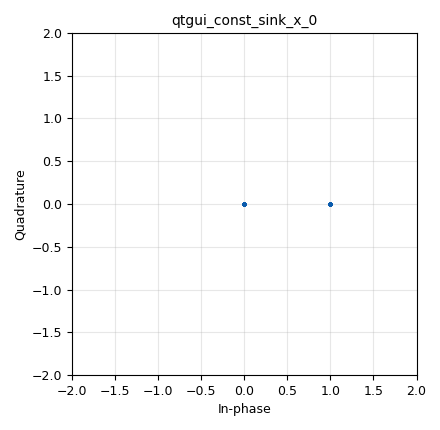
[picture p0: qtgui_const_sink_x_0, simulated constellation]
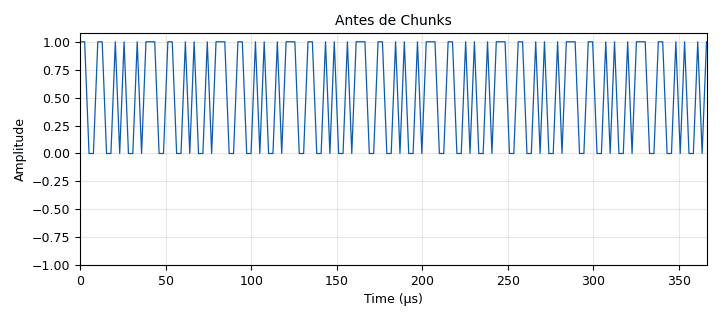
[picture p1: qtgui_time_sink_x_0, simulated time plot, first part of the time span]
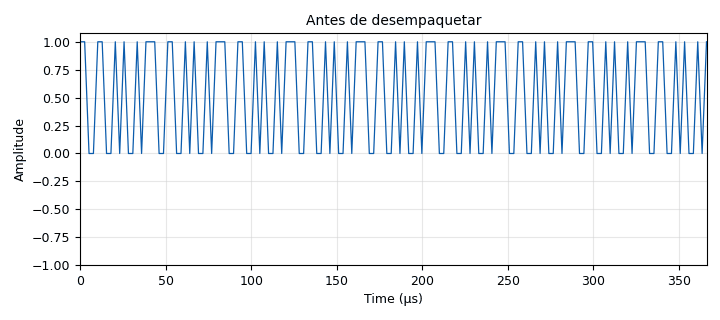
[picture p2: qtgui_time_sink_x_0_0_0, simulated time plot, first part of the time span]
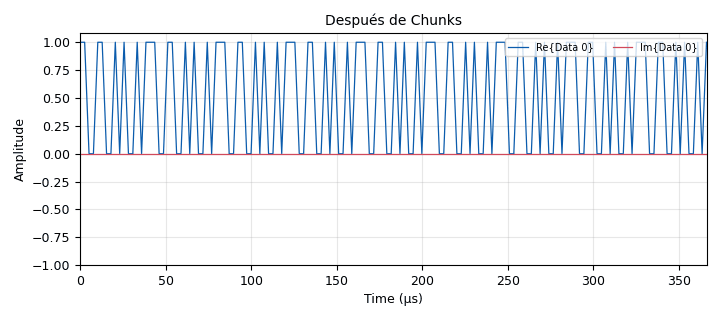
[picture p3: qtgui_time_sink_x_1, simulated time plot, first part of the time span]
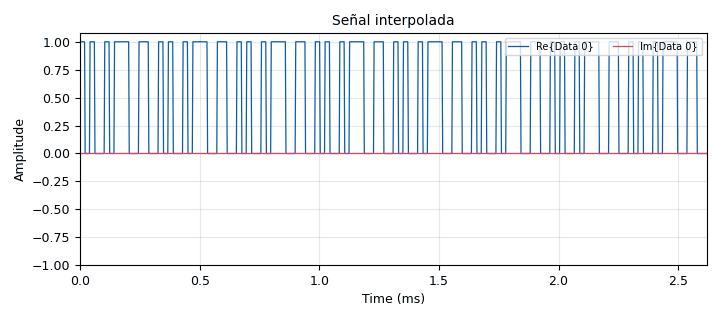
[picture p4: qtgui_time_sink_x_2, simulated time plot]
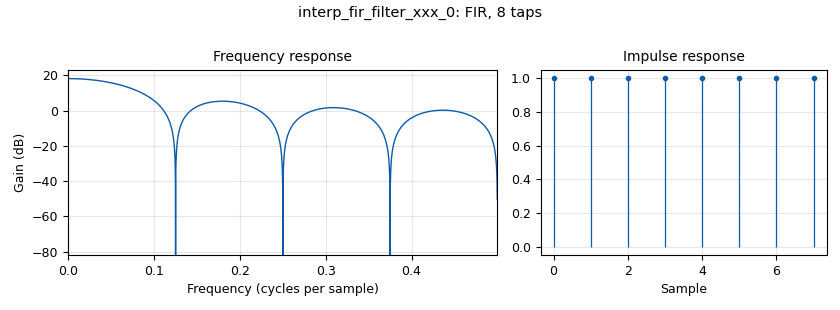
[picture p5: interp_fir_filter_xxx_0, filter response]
<?xml version='1.0' encoding='utf-8'?>
<?grc format='1' created='3.7.11'?>
<flow_graph>
<block>
<key>options</key>
<param><key>id</key><value>top_block</value></param>
<param><key>generate_options</key><value>qt_gui</value></param>
</block>
<block>
<key>variable</key>
<param><key>id</key><value>M</value></param>
<param><key>value</key><value>len(module)</value></param>
</block>
<block>
<key>variable</key>
<param><key>id</key><value>Rb</value></param>
<param><key>value</key><value>Rs*bps</value></param>
</block>
<block>
<key>variable</key>
<param><key>id</key><value>Rs</value></param>
<param><key>value</key><value>48828.125</value></param>
</block>
<block>
<key>variable</key>
<param><key>id</key><value>Sps</value></param>
<param><key>value</key><value>8</value></param>
</block>
<block>
<key>variable</key>
<param><key>id</key><value>Sps_0</value></param>
<param><key>value</key><value>int(Sps/2)</value></param>
</block>
<block>
<key>variable</key>
<param><key>id</key><value>TrueBoardConstellation</value></param>
<param><key>value</key><value>(0.77+0.77j,-0.77+0.77j,-0.77-0.77j,0.77-0.77j)</value></param>
</block>
<block>
<key>variable</key>
<param><key>id</key><value>bps</value></param>
<param><key>value</key><value>int(math.log(M,2))</value></param>
</block>
<block>
<key>variable</key>
<param><key>id</key><value>constellation_2</value></param>
<param><key>value</key><value>(0,1)</value></param>
</block>
<block>
<key>variable</key>
<param><key>id</key><value>h</value></param>
<param><key>value</key><value>[1]*Sps</value></param>
</block>
<block>
<key>variable_qtgui_chooser</key>
<param><key>id</key><value>module</value></param>
<param><key>value</key><value>constellation_2</value></param>
<param><key>gui_hint</key><value>0,7,1,1</value></param>
<param><key>label0</key><value>TrueBoardConstellation</value></param>
<param><key>label1</key><value>constellation_2</value></param>
<param><key>label</key><value>Modulación</value></param>
<param><key>num_opts</key><value>2</value></param>
<param><key>option0</key><value>TrueBoardConstellation</value></param>
<param><key>option1</key><value>constellation_2</value></param>
<param><key>type</key><value>raw</value></param>
<param><key>widget</key><value>radio_buttons</value></param>
</block>
<block>
<key>variable</key>
<param><key>id</key><value>samp_rate</value></param>
<param><key>value</key><value>Rs*Sps</value></param>
</block>
<block>
<key>variable</key>
<param><key>id</key><value>samp_rate_2</value></param>
<param><key>value</key><value>samp_rate*16</value></param>
</block>
<block>
<key>qtgui_tab_widget</key>
<param><key>id</key><value>Widget</value></param>
<param><key>gui_hint</key><value>0,0,1,7</value></param>
<param><key>label0</key><value>PHG</value></param>
<param><key>label1</key><value>Antes de Chunks</value></param>
<param><key>label2</key><value>Después de Chunks</value></param>
<param><key>label3</key><value>Señal Interpolada</value></param>
<param><key>label4</key><value>Diagrama de Constelaciones</value></param>
<param><key>label5</key><value>Antes de desempaquetar</value></param>
<param><key>num_tabs</key><value>6</value></param>
</block>
<block>
<key>blocks_complex_to_real</key>
<param><key>id</key><value>blocks_complex_to_real_0</value></param>
</block>
<block>
<key>blocks_file_sink</key>
<param><key>id</key><value>blocks_file_sink_0</value></param>
<param><key>file</key><value>/home/alex/Documents/ProgrammingProject/MaquinaNativa1/cancion.wav</value></param>
<param><key>type</key><value>byte</value></param>
</block>
<block>
<key>blocks_file_source</key>
<param><key>id</key><value>blocks_file_source_0</value></param>
<param><key>_enabled</key><value>0</value></param>
<param><key>file</key><value>/home/alex/Documents/ProgrammingProject/Melendi - Destino o Casualidad ft. Ha Ash VDownloader.wav</value></param>
<param><key>type</key><value>byte</value></param>
<param><key>repeat</key><value>False</value></param>
</block>
<block>
<key>blocks_float_to_uchar</key>
<param><key>id</key><value>blocks_float_to_uchar_0</value></param>
</block>
<block>
<key>blocks_keep_one_in_n</key>
<param><key>id</key><value>blocks_keep_one_in_n_0</value></param>
<param><key>n</key><value>Sps</value></param>
<param><key>type</key><value>complex</value></param>
</block>
<block>
<key>blocks_pack_k_bits_bb</key>
<param><key>id</key><value>blocks_pack_k_bits_bb_0</value></param>
<param><key>k</key><value>8</value></param>
</block>
<block>
<key>blocks_pdu_to_tagged_stream</key>
<param><key>id</key><value>blocks_pdu_to_tagged_stream_0</value></param>
<param><key>_enabled</key><value>0</value></param>
<param><key>type</key><value>byte</value></param>
<param><key>tag</key><value>packet_len</value></param>
</block>
<block>
<key>blocks_stream_to_tagged_stream</key>
<param><key>id</key><value>blocks_stream_to_tagged_stream_0</value></param>
<param><key>_enabled</key><value>2</value></param>
<param><key>len_tag_key</key><value>"packet_len"</value></param>
<param><key>packet_len</key><value>100</value></param>
<param><key>type</key><value>byte</value></param>
</block>
<block>
<key>blocks_tagged_stream_align</key>
<param><key>id</key><value>blocks_tagged_stream_align_0</value></param>
<param><key>_enabled</key><value>0</value></param>
<param><key>type</key><value>byte</value></param>
<param><key>lengthtagname</key><value>packet_len</value></param>
</block>
<block>
<key>blocks_tagged_stream_mux</key>
<param><key>id</key><value>blocks_tagged_stream_mux_0</value></param>
<param><key>_enabled</key><value>0</value></param>
<param><key>type</key><value>byte</value></param>
<param><key>lengthtagname</key><value>packet_len</value></param>
<param><key>ninputs</key><value>2</value></param>
</block>
<block>
<key>blocks_tagged_stream_to_pdu</key>
<param><key>id</key><value>blocks_tagged_stream_to_pdu_0</value></param>
<param><key>_enabled</key><value>0</value></param>
<param><key>type</key><value>byte</value></param>
<param><key>tag</key><value>packet_len</value></param>
</block>
<block>
<key>blocks_uchar_to_float</key>
<param><key>id</key><value>blocks_uchar_to_float_0</value></param>
</block>
<block>
<key>blocks_uchar_to_float</key>
<param><key>id</key><value>blocks_uchar_to_float_0_0</value></param>
</block>
<block>
<key>blocks_unpack_k_bits_bb</key>
<param><key>id</key><value>blocks_unpack_k_bits_bb_0</value></param>
<param><key>_enabled</key><value>0</value></param>
<param><key>k</key><value>8</value></param>
</block>
<block>
<key>blocks_vector_source_x</key>
<param><key>id</key><value>blocks_vector_source_x_0</value></param>
<param><key>type</key><value>byte</value></param>
<param><key>repeat</key><value>True</value></param>
<param><key>vector</key><value>(1,1,0,0,1,1,0,0,1,0,1,0,0,1,0,1)</value></param>
</block>
<block>
<key>digital_chunks_to_symbols_xx</key>
<param><key>id</key><value>digital_chunks_to_symbols_xx_0</value></param>
<param><key>dimension</key><value>1</value></param>
<param><key>in_type</key><value>byte</value></param>
<param><key>out_type</key><value>complex</value></param>
<param><key>symbol_table</key><value>module</value></param>
</block>
<block>
<key>digital_correlate_access_code_xx_ts</key>
<param><key>id</key><value>digital_correlate_access_code_xx_ts_0</value></param>
<param><key>access_code</key><value>0000 0100 0001 0100</value></param>
<param><key>type</key><value>byte</value></param>
<param><key>tagname</key><value>packet_len</value></param>
<param><key>threshold</key><value>0</value></param>
</block>
<block>
<key>digital_packet_headergenerator_bb_default</key>
<param><key>id</key><value>digital_packet_headergenerator_bb_default_0</value></param>
<param><key>_enabled</key><value>0</value></param>
<param><key>header_len</key><value>8</value></param>
<param><key>len_tag_key</key><value>"packet_len"</value></param>
</block>
<block>
<key>import</key>
<param><key>id</key><value>import_0</value></param>
<param><key>import</key><value>import math</value></param>
</block>
<block>
<key>import</key>
<param><key>id</key><value>import_1</value></param>
<param><key>import</key><value>import numpy</value></param>
</block>
<block>
<key>interp_fir_filter_xxx</key>
<param><key>id</key><value>interp_fir_filter_xxx_0</value></param>
<param><key>interp</key><value>Sps</value></param>
<param><key>taps</key><value>h</value></param>
<param><key>type</key><value>ccc</value></param>
</block>
<block>
<key>qtgui_const_sink_x</key>
<param><key>id</key><value>qtgui_const_sink_x_0</value></param>
<param><key>gui_hint</key><value>Widget@4</value></param>
<param><key>size</key><value>1024</value></param>
<param><key>type</key><value>complex</value></param>
</block>
<block>
<key>qtgui_time_sink_x</key>
<param><key>id</key><value>qtgui_time_sink_x_0</value></param>
<param><key>ctrlpanel</key><value>True</value></param>
<param><key>gui_hint</key><value>Widget@1</value></param>
<param><key>color1</key><value>"blue"</value></param>
<param><key>label1</key><value></value></param>
<param><key>name</key><value>"Antes de Chunks"</value></param>
<param><key>size</key><value>1024</value></param>
<param><key>srate</key><value>samp_rate</value></param>
<param><key>type</key><value>float</value></param>
</block>
<block>
<key>qtgui_time_sink_x</key>
<param><key>id</key><value>qtgui_time_sink_x_0_0</value></param>
<param><key>ctrlpanel</key><value>True</value></param>
<param><key>gui_hint</key><value>Widget@0</value></param>
<param><key>color1</key><value>"blue"</value></param>
<param><key>label1</key><value></value></param>
<param><key>name</key><value>"PHG"</value></param>
<param><key>size</key><value>1024</value></param>
<param><key>srate</key><value>samp_rate</value></param>
<param><key>type</key><value>float</value></param>
</block>
<block>
<key>qtgui_time_sink_x</key>
<param><key>id</key><value>qtgui_time_sink_x_0_0_0</value></param>
<param><key>ctrlpanel</key><value>True</value></param>
<param><key>gui_hint</key><value>Widget@5</value></param>
<param><key>color1</key><value>"blue"</value></param>
<param><key>label1</key><value></value></param>
<param><key>name</key><value>"Antes de desempaquetar"</value></param>
<param><key>size</key><value>1024</value></param>
<param><key>srate</key><value>samp_rate</value></param>
<param><key>type</key><value>float</value></param>
</block>
<block>
<key>qtgui_time_sink_x</key>
<param><key>id</key><value>qtgui_time_sink_x_1</value></param>
<param><key>ctrlpanel</key><value>True</value></param>
<param><key>gui_hint</key><value>Widget@2</value></param>
<param><key>color1</key><value>"blue"</value></param>
<param><key>label1</key><value></value></param>
<param><key>color2</key><value>"red"</value></param>
<param><key>label2</key><value></value></param>
<param><key>name</key><value>"Después de Chunks"</value></param>
<param><key>size</key><value>1024</value></param>
<param><key>srate</key><value>samp_rate</value></param>
<param><key>type</key><value>complex</value></param>
</block>
<block>
<key>qtgui_time_sink_x</key>
<param><key>id</key><value>qtgui_time_sink_x_2</value></param>
<param><key>ctrlpanel</key><value>True</value></param>
<param><key>gui_hint</key><value>Widget@3</value></param>
<param><key>color1</key><value>"blue"</value></param>
<param><key>label1</key><value></value></param>
<param><key>color2</key><value>"red"</value></param>
<param><key>label2</key><value></value></param>
<param><key>name</key><value>"Señal interpolada"</value></param>
<param><key>size</key><value>1024</value></param>
<param><key>srate</key><value>samp_rate</value></param>
<param><key>type</key><value>complex</value></param>
</block>
<block>
<key>uhd_usrp_sink</key>
<param><key>id</key><value>uhd_usrp_sink_0</value></param>
<param><key>ant0</key><value>TX/RX</value></param>
<param><key>center_freq0</key><value>830e6</value></param>
<param><key>norm_gain0</key><value>False</value></param>
<param><key>gain0</key><value>0</value></param>
<param><key>clock_rate</key><value>0.0</value></param>
<param><key>dev_args</key><value>""</value></param>
<param><key>type</key><value>fc32</value></param>
<param><key>samp_rate</key><value>samp_rate</value></param>
<param><key>hide_cmd_port</key><value>False</value></param>
<param><key>hide_lo_controls</key><value>True</value></param>
<param><key>sync</key><value></value></param>
<param><key>len_tag_name</key><value></value></param>
</block>
<block>
<key>virtual_sink</key>
<param><key>id</key><value>virtual_sink_0</value></param>
<param><key>stream_id</key><value>modulator</value></param>
</block>
<block>
<key>virtual_source</key>
<param><key>id</key><value>virtual_source_0</value></param>
<param><key>stream_id</key><value>modulator</value></param>
</block>
<connection><source_block_id>blocks_complex_to_real_0</source_block_id><sink_block_id>blocks_float_to_uchar_0</sink_block_id><source_key>0</source_key><sink_key>0</sink_key></connection>
<connection><source_block_id>blocks_complex_to_real_0</source_block_id><sink_block_id>qtgui_time_sink_x_0_0_0</sink_block_id><source_key>0</source_key><sink_key>0</sink_key></connection>
<connection><source_block_id>blocks_file_source_0</source_block_id><sink_block_id>blocks_stream_to_tagged_stream_0</sink_block_id><source_key>0</source_key><sink_key>0</sink_key></connection>
<connection><source_block_id>blocks_float_to_uchar_0</source_block_id><sink_block_id>blocks_pack_k_bits_bb_0</sink_block_id><source_key>0</source_key><sink_key>0</sink_key></connection>
<connection><source_block_id>blocks_keep_one_in_n_0</source_block_id><sink_block_id>blocks_complex_to_real_0</sink_block_id><source_key>0</source_key><sink_key>0</sink_key></connection>
<connection><source_block_id>blocks_pack_k_bits_bb_0</source_block_id><sink_block_id>digital_correlate_access_code_xx_ts_0</sink_block_id><source_key>0</source_key><sink_key>0</sink_key></connection>
<connection><source_block_id>blocks_stream_to_tagged_stream_0</source_block_id><sink_block_id>blocks_tagged_stream_mux_0</sink_block_id><source_key>0</source_key><sink_key>1</sink_key></connection>
<connection><source_block_id>blocks_stream_to_tagged_stream_0</source_block_id><sink_block_id>blocks_uchar_to_float_0_0</sink_block_id><source_key>0</source_key><sink_key>0</sink_key></connection>
<connection><source_block_id>blocks_stream_to_tagged_stream_0</source_block_id><sink_block_id>blocks_unpack_k_bits_bb_0</sink_block_id><source_key>0</source_key><sink_key>0</sink_key></connection>
<connection><source_block_id>blocks_stream_to_tagged_stream_0</source_block_id><sink_block_id>digital_packet_headergenerator_bb_default_0</sink_block_id><source_key>0</source_key><sink_key>0</sink_key></connection>
<connection><source_block_id>blocks_tagged_stream_align_0</source_block_id><sink_block_id>blocks_tagged_stream_to_pdu_0</sink_block_id><source_key>0</source_key><sink_key>0</sink_key></connection>
<connection><source_block_id>blocks_tagged_stream_mux_0</source_block_id><sink_block_id>blocks_uchar_to_float_0_0</sink_block_id><source_key>0</source_key><sink_key>0</sink_key></connection>
<connection><source_block_id>blocks_tagged_stream_mux_0</source_block_id><sink_block_id>blocks_unpack_k_bits_bb_0</sink_block_id><source_key>0</source_key><sink_key>0</sink_key></connection>
<connection><source_block_id>blocks_tagged_stream_to_pdu_0</source_block_id><sink_block_id>blocks_pdu_to_tagged_stream_0</sink_block_id><source_key>pdus</source_key><sink_key>pdus</sink_key></connection>
<connection><source_block_id>blocks_uchar_to_float_0</source_block_id><sink_block_id>qtgui_time_sink_x_0</sink_block_id><source_key>0</source_key><sink_key>0</sink_key></connection>
<connection><source_block_id>blocks_uchar_to_float_0_0</source_block_id><sink_block_id>qtgui_time_sink_x_0_0</sink_block_id><source_key>0</source_key><sink_key>0</sink_key></connection>
<connection><source_block_id>blocks_unpack_k_bits_bb_0</source_block_id><sink_block_id>digital_chunks_to_symbols_xx_0</sink_block_id><source_key>0</source_key><sink_key>0</sink_key></connection>
<connection><source_block_id>blocks_vector_source_x_0</source_block_id><sink_block_id>blocks_uchar_to_float_0</sink_block_id><source_key>0</source_key><sink_key>0</sink_key></connection>
<connection><source_block_id>blocks_vector_source_x_0</source_block_id><sink_block_id>digital_chunks_to_symbols_xx_0</sink_block_id><source_key>0</source_key><sink_key>0</sink_key></connection>
<connection><source_block_id>digital_chunks_to_symbols_xx_0</source_block_id><sink_block_id>interp_fir_filter_xxx_0</sink_block_id><source_key>0</source_key><sink_key>0</sink_key></connection>
<connection><source_block_id>digital_chunks_to_symbols_xx_0</source_block_id><sink_block_id>qtgui_time_sink_x_1</sink_block_id><source_key>0</source_key><sink_key>0</sink_key></connection>
<connection><source_block_id>digital_correlate_access_code_xx_ts_0</source_block_id><sink_block_id>blocks_file_sink_0</sink_block_id><source_key>0</source_key><sink_key>0</sink_key></connection>
<connection><source_block_id>digital_packet_headergenerator_bb_default_0</source_block_id><sink_block_id>blocks_tagged_stream_mux_0</sink_block_id><source_key>0</source_key><sink_key>0</sink_key></connection>
<connection><source_block_id>interp_fir_filter_xxx_0</source_block_id><sink_block_id>qtgui_const_sink_x_0</sink_block_id><source_key>0</source_key><sink_key>0</sink_key></connection>
<connection><source_block_id>interp_fir_filter_xxx_0</source_block_id><sink_block_id>qtgui_time_sink_x_2</sink_block_id><source_key>0</source_key><sink_key>0</sink_key></connection>
<connection><source_block_id>interp_fir_filter_xxx_0</source_block_id><sink_block_id>uhd_usrp_sink_0</sink_block_id><source_key>0</source_key><sink_key>0</sink_key></connection>
<connection><source_block_id>interp_fir_filter_xxx_0</source_block_id><sink_block_id>virtual_sink_0</sink_block_id><source_key>0</source_key><sink_key>0</sink_key></connection>
<connection><source_block_id>virtual_source_0</source_block_id><sink_block_id>blocks_keep_one_in_n_0</sink_block_id><source_key>0</source_key><sink_key>0</sink_key></connection>
</flow_graph>
